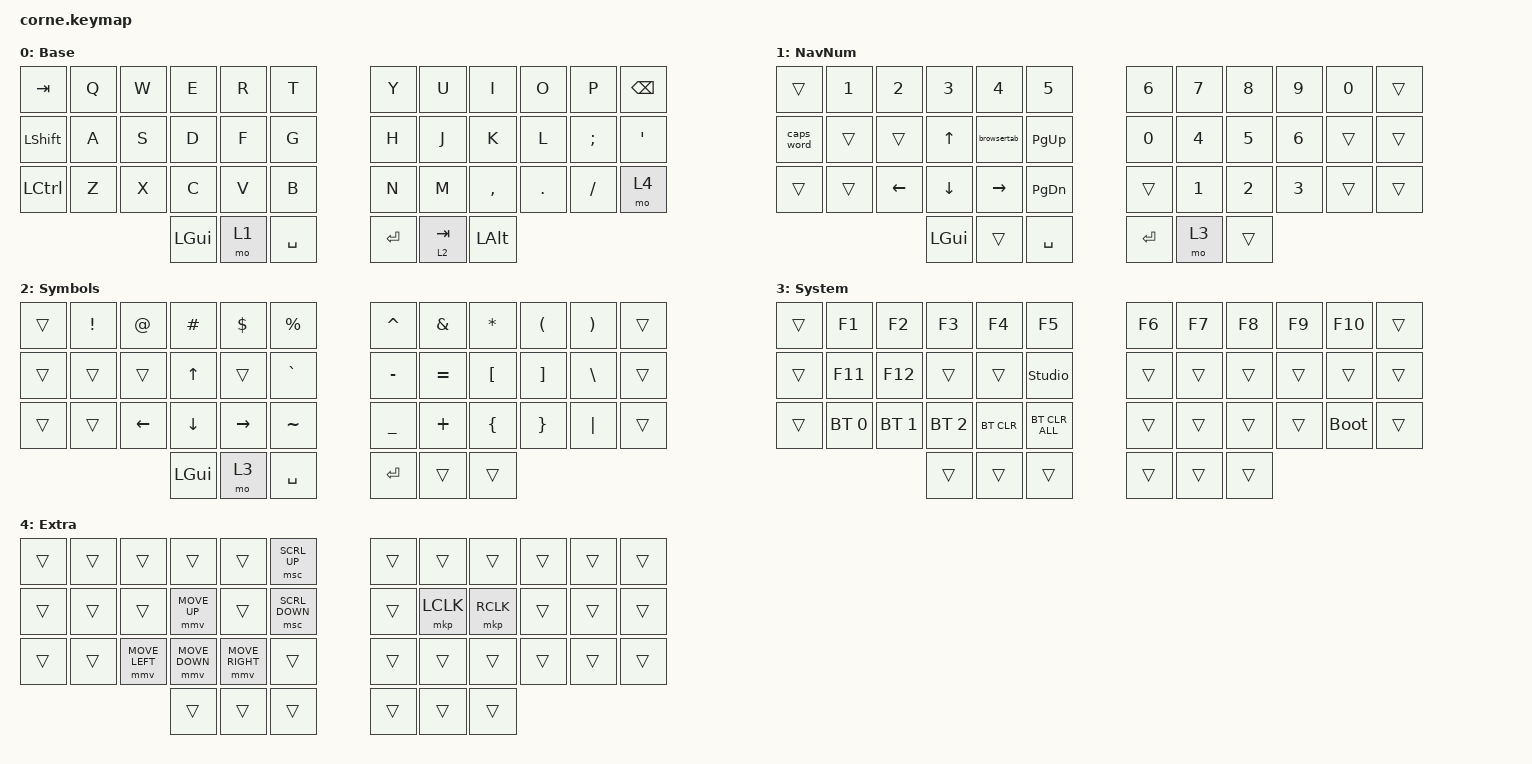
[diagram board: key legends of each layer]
#include <behaviors.dtsi>
#include <dt-bindings/zmk/bt.h>
#include <dt-bindings/zmk/keys.h>
#include <dt-bindings/zmk/pointing.h>

#define DEF 0
#define NAV 1
#define SYM 2
#define ADJ 3
#define EXTRA 4

// Hold time for keys that do one thing on tap and another on hold.
// Hold a key longer than tapping-term-ms and it does its hold action;
// release it sooner and it does its tap action.
// Plain keys (&kp) and momentary layers (&mo) have no tap/hold choice,
// so they react instantly and are not affected by this.
//   &mt = Mod-Tap:   tap for a key, hold for a modifier (e.g. &mt LCTRL A)
//   &lt = Layer-Tap: tap for a key, hold for a layer    (e.g. &lt 2 TAB)
// ZMK's default for both is 200ms.

// Home row mods: A S D F / J K L ; are bound to &mt in ZMK Studio.
//
// The problem: typing "thanks" came out as "thNks", and "and" as "Nd".
// ZMK's &mt uses the "hold-preferred" flavor by default: if any other
// key goes down while a mod-tap key is still held, the mod-tap key
// becomes its modifier at once. Fast typing rolls from key to key: N
// goes down a moment before A comes up, so A became Shift and the
// keyboard sent Shift+N instead of "an".
// Raising tapping-term-ms didn't help, because that timer only decides
// when no other key is pressed, and a roll always presses another key.
//
// The solution:
//   flavor = "balanced": another key going down is no longer enough;
//     it must also come back up before you let go of the mod-tap key.
//       Roll:     A down, N down, A up, N up  ->  "an"
//       Shortcut: F down, C down, C up, F up  ->  Cmd+C
//   require-prior-idle-ms: if any key was pressed in the last 150ms
//     (you're in the middle of a word), the key types its letter right
//     away. So pause briefly after typing before using a home row mod,
//     or use the plain Shift key on the left for capitals.
//   tapping-term-ms: how long to hold a mod-tap key on its own (e.g.
//     Cmd+mouse click) before it becomes the modifier.
//   quick-tap-ms: tap a key, then hold it again within 175ms, and it
//     repeats the letter instead of becoming the modifier.
// These settings apply to every &mt key, including the ones bound in
// Studio, so nothing needs to change in Studio.
&mt {
    flavor = "balanced";
    tapping-term-ms = <280>;
    quick-tap-ms = <175>;
    require-prior-idle-ms = <150>;
};

&lt {
    tapping-term-ms = <500>;
};

/ {
    behaviors {
        hm: homerow_mods {
            compatible = "zmk,behavior-hold-tap";
            #binding-cells = <2>;
            tapping-term-ms = <200>;
            flavor = "tap-preferred";
            bindings = <&kp>, <&kp>;

            quick-tap-ms = <180>;
            require-prior-idle-ms = <120>; /* tune to taste */
        };

        para: para {
            compatible = "zmk,behavior-tap-dance";
            #binding-cells = <0>;
            bindings = <&kp LEFT_PARENTHESIS>, <&kp RIGHT_PARENTHESIS>;
        };

        caps: caps {
            compatible = "zmk,behavior-caps-word";
            #binding-cells = <0>;
            continue-list = <MINUS BACKSPACE>;
        };

        paraless: paraless {
            compatible = "zmk,behavior-mod-morph";
            bindings = <&kp LEFT_PARENTHESIS>, <&kp LESS_THAN>;

            #binding-cells = <0>;
            mods = <(MOD_LSFT)>;
        };

        paragreat: paragreat {
            compatible = "zmk,behavior-mod-morph";
            bindings = <&kp RIGHT_PARENTHESIS>, <&kp GREATER_THAN>;

            #binding-cells = <0>;
            mods = <(MOD_LSFT)>;
        };
    };

    macros {
        browsertab: browsertab {
            compatible = "zmk,behavior-macro";
            #binding-cells = <0>;
            bindings =
                <&macro_press>,
                <&kp LCTRL>,
                <&macro_tap>,
                <&kp TAB>,
                <&macro_release>,
                <&kp LCTRL>;
        };

        closenvim: closenvim {
            compatible = "zmk,behavior-macro";
            #binding-cells = <0>;
            display-name = "Close Nvim";
            bindings = <&kp COLON &kp Q &kp A &kp EXCL &kp RET>;
        };

    };

    combos {
        compatible = "zmk,combos";

        escape {
            bindings = <&kp ESCAPE>;
            key-positions = <13 29>;
        };

        delete {
            bindings = <&kp DELETE>;
            key-positions = <15 21>;
        };

        perc {
            bindings = <&kp PERCENT>;
            key-positions = <5 17>;
            layers = <0>;
        };

        equal {
            bindings = <&kp EQUAL>;
            key-positions = <28 16>;
            layers = <0>;
        };

        dollar {
            bindings = <&kp DOLLAR>;
            key-positions = <4 16>;
            layers = <0>;
        };

        pound {
            bindings = <&kp POUND>;
            key-positions = <3 15>;
            layers = <0>;
        };

        at {
            bindings = <&kp AT>;
            key-positions = <2 14>;
            layers = <0>;
        };

        backslash {
            bindings = <&kp BACKSLASH>;
            key-positions = <26 14>;
            layers = <0>;
        };

        star {
            bindings = <&kp STAR>;
            key-positions = <8 20>;
            layers = <0>;
        };

        slash {
            bindings = <&kp SLASH>;
            key-positions = <32 20>;
            layers = <0>;
        };

        plus {
            bindings = <&kp PLUS>;
            key-positions = <7 19>;
            layers = <0>;
        };

        minus {
            bindings = <&kp KP_MINUS>;
            key-positions = <31 19>;
            layers = <0>;
        };

        underscore {
            bindings = <&kp UNDER>;
            key-positions = <30 18>;
            layers = <0>;
        };

        leftbrack {
            bindings = <&kp LEFT_BRACKET>;
            key-positions = <31 32>;
            layers = <0>;
        };

        rightbrack {
            bindings = <&kp RIGHT_BRACKET>;
            key-positions = <33 32>;
            layers = <0>;
        };

        para-less {
            bindings = <&paraless>;
            key-positions = <20 19>;
            layers = <0>;
        };

        para-great {
            bindings = <&paragreat>;
            key-positions = <20 21>;
            layers = <0>;
        };
    };

    //

    keymap {
        compatible = "zmk,keymap";

        DEF {
            display-name = "Base";

            // -----------------------------------------------------------------------------------------
            // |  Q  |  W  |  E  |  R  |  T  |   |  Y  |  U   |  I  |  O  |  P  |
            // |  A  |  S  |  D  |  F  |  G  |   |  H  |  J   |  K  |  L  |  ;  |
            // |  Z  |  X  |  C  |  V  |  B  |   |  N  |  M   |  ,  |  .  |  /  |
            // | GUI | CTRL | SHFT | LWR | SPC |   | ENT | RSE  | BKSP | ALT | ESC |

            bindings = <
&kp TAB    &kp Q  &kp W  &kp E     &kp R  &kp T        &kp Y    &kp U      &kp I          &kp O    &kp P     &kp BACKSPACE
&kp LSHFT  &kp A  &kp S  &kp D     &kp F  &kp G        &kp H    &kp J      &kp K          &kp L    &kp SEMI  &kp SQT
&kp LCTRL  &kp Z  &kp X  &kp C     &kp V  &kp B        &kp N    &kp M      &kp COMMA      &kp DOT  &kp FSLH  &mo 4
                         &kp LGUI  &mo 1  &kp SPACE    &kp RET  &lt 2 TAB  &kp LEFT_ALT
            >;
        };

        NAV {
            display-name = "NavNum";

            // -----------------------------------------------------------------------------------------
            // |  TAB |  1  |  2  |  3  |  4  |  5  |   |  6  |  7  |  8  |  9  |  0  | BKSP |
            // | BTCLR| BT1 | BT2 | BT3 | BT4 | BT5 |   | LFT | DWN |  UP | RGT |     |      |
            // | SHFT |     |     |     |     |     |   |     |     |     |     |     |      |
            // | GUI | CTRL | SHFT | LWR | SPC |   | ENT | RSE  | BKSP | ALT | ESC |

            bindings = <
&trans  &kp N1  &kp N2    &kp N3       &kp N4           &kp N5           &kp N6   &kp N7        &kp N8        &kp N9        &kp N0  &trans
&caps_word  &trans  &trans    &kp UP_ARROW  &browsertab      &kp PAGE_UP      &kp N0   &kp N4  &kp N5        &kp N6  &trans  &trans
&trans  &trans  &kp LEFT  &kp DOWN      &kp RIGHT_ARROW  &kp PAGE_DOWN    &trans   &kp N1  &kp N2  &kp N3  &trans  &trans
                          &kp LGUI      &trans           &kp SPACE        &kp RET  &mo 3        &trans
            >;
        };

        SYM {
            display-name = "Symbols";

            // -----------------------------------------------------------------------------------------
            // |  TAB |  !  |  @  |  #  |  $  |  %  |   |  ^  |  &  |  *  |  (  |  )  | BKSP |
            // | CTRL |     |     |     |     |     |   |  -  |  =  |  [  |  ]  |  \  |  `   |
            // | SHFT |     |     |     |     |     |   |  _  |  +  |  {  |  }  | "|" |  ~   |
            //                    | GUI |     | SPC |   | ENT |     | ALT |

            bindings = <
&trans  &kp EXCL  &kp AT          &kp HASH        &kp DLLR         &kp PRCNT    &kp CARET  &kp AMPS   &kp ASTRK  &kp LEFT_PARENTHESIS  &kp RPAR  &trans
&trans  &trans    &trans          &kp UP_ARROW    &trans           &kp GRAVE    &kp MINUS  &kp EQUAL  &kp LBKT   &kp RBKT              &kp BSLH  &trans
&trans  &trans    &kp LEFT_ARROW  &kp DOWN_ARROW  &kp RIGHT_ARROW  &kp TILDE    &kp UNDER  &kp PLUS   &kp LBRC   &kp RBRC              &kp PIPE  &trans
                                  &kp LGUI        &mo 3           &kp SPACE    &kp RET    &trans     &trans
            >;
        };

        ADJ {
            display-name = "System";
            bindings = <
&trans  &kp F1        &kp F2        &kp F3        &kp F4      &kp F5            &kp F6  &kp F7  &kp F8  &kp F9  &kp F10      &trans
&trans  &kp F11       &kp F12       &trans        &trans      &studio_unlock            &trans  &trans  &trans  &trans  &trans       &trans
&trans  &bt BT_SEL 0  &bt BT_SEL 1  &bt BT_SEL 2  &bt BT_CLR  &bt BT_CLR_ALL    &trans  &trans  &trans  &trans  &bootloader  &trans
                                    &trans        &trans      &trans            &trans  &trans  &trans
            >;
        };
        EXTRA {
                display-name = "Extra";
            bindings = <
&trans  &trans       &trans         &trans          &trans      &msc SCRL_UP    &trans  &trans  &trans  &trans  &trans      &trans
&trans  &trans       &trans        &mmv MOVE_UP      &trans   &msc SCRL_DOWN            &trans  &mkp LCLK  &mkp RCLK  &trans  &trans       &trans
&trans  &trans       &mmv MOVE_LEFT   &mmv MOVE_DOWN  &mmv MOVE_RIGHT  &trans    &trans  &trans  &trans  &trans  &trans  &trans
                                     &trans        &trans      &trans            &trans  &trans  &trans
            >;
        };
    };

};
    
